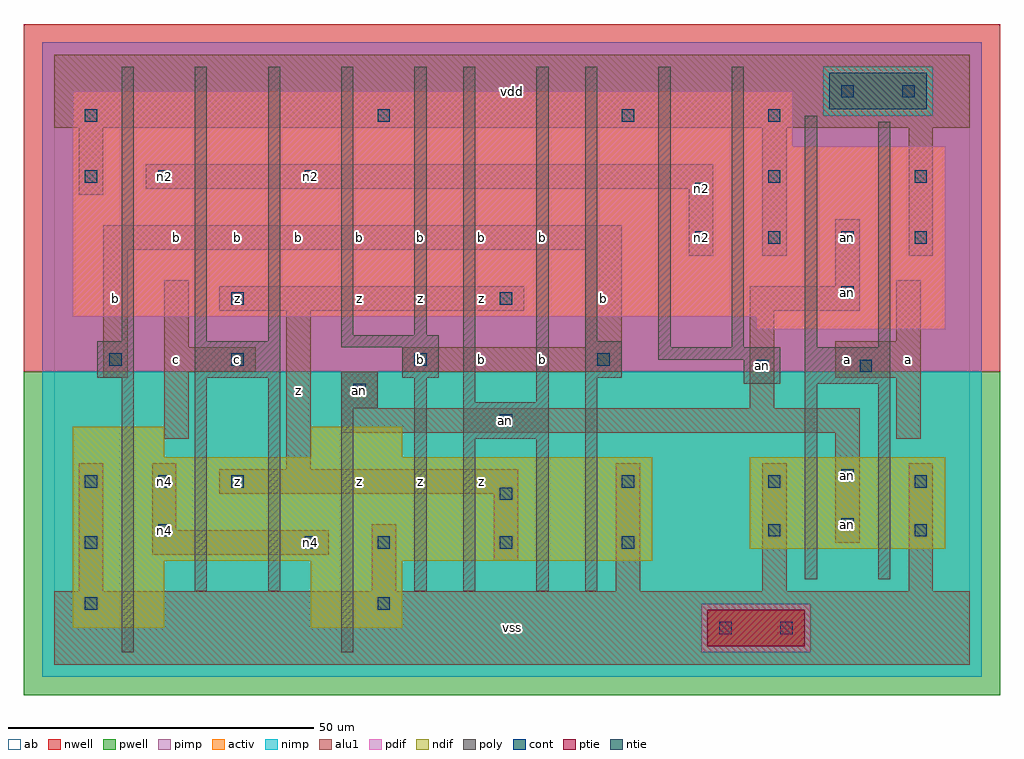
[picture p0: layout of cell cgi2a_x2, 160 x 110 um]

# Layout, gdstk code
import gdstk
lib = gdstk.Library(unit=1e-6, precision=1e-09)
def R(c, l, rs):  # rectangles x0, y0, x1, y1
    for r in rs: c.add(gdstk.rectangle(r[:2], r[2:], *l))
def A(c, l, x, y, w, h, nx, ny, dx, dy):  # array of equal rectangles
    R(c, l, [(x+i*dx, y+j*dy, x+i*dx+w, y+j*dy+h) for i in range(nx) for j in range(ny)])
ndif = (3, 0)
pdif = (4, 0)
ntie = (5, 0)
ptie = (6, 0)
cont = (25, 0)
pwell = (41, 0)
nwell = (42, 0)
activ = (43, 0)
pimp = (44, 0)
nimp = (45, 0)
poly = (46, 0)
alu1 = (49, 0)
ab = (63, 0)

cgi2a_x2 = lib.new_cell('cgi2a_x2')
R(cgi2a_x2, ndif, [(3,6,18,17), (42,6,57,17), (3,17,98,34), (114,19,146,34), (3,34,18,39), (42,34,57,39)])
R(cgi2a_x2, pdif, [(115,55,146,57), (3,57,146,85), (3,85,121,94)])
R(cgi2a_x2, ntie, [(127,91,143,97)])
R(cgi2a_x2, ptie, [(107,3,123,9)])
A(cgi2a_x2, cont, 53, 19, 2, 2, 3, 1, 20, 0)
A(cgi2a_x2, cont, 5, 29, 2, 2, 3, 1, 12, 0)
A(cgi2a_x2, cont, 93, 29, 2, 2, 3, 1, 24, 0)
A(cgi2a_x2, cont, 29, 49, 2, 2, 3, 1, 30, 0)
A(cgi2a_x2, cont, 105, 69, 2, 2, 4, 1, 12, 0)
R(cgi2a_x2, cont, [(109,5,111,7), (119,5,121,7), (5,9,7,11), (53,9,55,11), (5,19,7,21), (41,19,43,21), (17,21,19,23), (117,21,119,23), (141,21,143,23), (129,22,131,24), (73,27,75,29), (129,30,131,32), (73,39,75,41), (49,44,51,46), (115,48,117,50), (132,48,134,50), (9,49,11,51), (29,59,31,61), (73,59,75,61), (129,60,131,62), (105,77,107,79), (5,79,7,81), (17,79,19,81), (41,79,43,81), (117,79,119,81), (141,79,143,81), (5,89,7,91), (53,89,55,91), (93,89,95,91), (117,89,119,91), (129,93,131,95), (139,93,141,95)])
R(cgi2a_x2, pwell, [(-5,-5,155,48)])
R(cgi2a_x2, nwell, [(-5,48,155,105)])
R(cgi2a_x2, activ, [(107,3,123,9), (3,6,18,17), (42,6,57,17), (3,17,98,34), (114,19,146,34), (3,34,18,39), (42,34,57,39), (115,55,146,57), (3,57,146,85), (3,85,121,94), (127,91,143,97)])
R(cgi2a_x2, pimp, [(106,2,124,10), (-2,48,152,90), (-2,90,126,98), (144,90,152,98), (-2,98,152,102)])
R(cgi2a_x2, nimp, [(-2,-2,152,2), (-2,2,106,10), (124,2,152,10), (-2,10,152,48), (126,90,144,98)])
A(cgi2a_x2, poly, 11, 53, 2, 45, 3, 1, 12, 0)
R(cgi2a_x2, poly, [(11,2,13,47), (47,2,49,42), (23,12,25,47), (35,12,37,47), (59,12,61,47), (67,12,69,37), (79,12,81,37), (87,12,89,47), (123,14,125,46), (135,14,137,46), (67,37,81,43), (47,42,53,48), (67,43,69,98), (79,43,81,98), (113,46,119,50), (123,46,137,52), (7,47,13,53), (23,47,37,53), (57,47,63,52), (87,47,93,53), (99,50,119,52), (47,52,63,54), (99,52,101,98), (111,52,113,98), (123,52,125,90), (135,52,137,89), (87,53,89,98), (47,54,49,98), (59,54,61,98)])
A(cgi2a_x2, alu1, 92, 12, 4, 21, 3, 1, 24, 0)
R(cgi2a_x2, alu1, [(0,0,150,12), (4,12,8,33), (52,12,56,23), (72,17,76,28), (16,18,45,22), (128,20,132,38), (16,22,20,33), (27,28,76,32), (38,32,42,58), (18,37,22,48), (138,37,142,47), (47,38,132,42), (47,42,53,48), (114,42,118,58), (8,47,12,68), (128,47,142,53), (18,48,33,52), (57,48,93,52), (18,52,22,63), (87,52,93,68), (138,53,142,63), (27,58,77,62), (114,58,132,62), (128,62,132,73), (104,67,108,78), (116,67,120,88), (140,67,144,88), (8,68,93,72), (4,77,8,88), (15,78,108,82), (0,88,150,100)])
R(cgi2a_x2, ab, [(0,0,150,100)])
cgi2a_x2.add(gdstk.Label('n4', (18,22), layer=49, texttype=0))
cgi2a_x2.add(gdstk.Label('n4', (18,30), layer=49, texttype=0))
cgi2a_x2.add(gdstk.Label('n2', (18,80), layer=49, texttype=0))
cgi2a_x2.add(gdstk.Label('n4', (42,20), layer=49, texttype=0))
cgi2a_x2.add(gdstk.Label('an', (50,45), layer=49, texttype=0))
cgi2a_x2.add(gdstk.Label('n2', (42,80), layer=49, texttype=0))
cgi2a_x2.add(gdstk.Label('an', (74,40), layer=49, texttype=0))
cgi2a_x2.add(gdstk.Label('n2', (106,70), layer=49, texttype=0))
cgi2a_x2.add(gdstk.Label('n2', (106,78), layer=49, texttype=0))
cgi2a_x2.add(gdstk.Label('an', (130,23), layer=49, texttype=0))
cgi2a_x2.add(gdstk.Label('an', (130,31), layer=49, texttype=0))
cgi2a_x2.add(gdstk.Label('an', (116,49), layer=49, texttype=0))
cgi2a_x2.add(gdstk.Label('an', (130,61), layer=49, texttype=0))
cgi2a_x2.add(gdstk.Label('an', (130,70), layer=49, texttype=0))
cgi2a_x2.add(gdstk.Label('c', (20,50), layer=49, texttype=0))
cgi2a_x2.add(gdstk.Label('b', (10,60), layer=49, texttype=0))
cgi2a_x2.add(gdstk.Label('b', (20,70), layer=49, texttype=0))
cgi2a_x2.add(gdstk.Label('z', (30,30), layer=49, texttype=0))
cgi2a_x2.add(gdstk.Label('z', (50,30), layer=49, texttype=0))
cgi2a_x2.add(gdstk.Label('c', (30,50), layer=49, texttype=0))
cgi2a_x2.add(gdstk.Label('z', (40,45), layer=49, texttype=0))
cgi2a_x2.add(gdstk.Label('z', (50,60), layer=49, texttype=0))
cgi2a_x2.add(gdstk.Label('z', (30,60), layer=49, texttype=0))
cgi2a_x2.add(gdstk.Label('b', (30,70), layer=49, texttype=0))
cgi2a_x2.add(gdstk.Label('b', (40,70), layer=49, texttype=0))
cgi2a_x2.add(gdstk.Label('b', (50,70), layer=49, texttype=0))
cgi2a_x2.add(gdstk.Label('vss', (75,6), layer=49, texttype=0))
cgi2a_x2.add(gdstk.Label('z', (60,30), layer=49, texttype=0))
cgi2a_x2.add(gdstk.Label('z', (70,30), layer=49, texttype=0))
cgi2a_x2.add(gdstk.Label('b', (60,50), layer=49, texttype=0))
cgi2a_x2.add(gdstk.Label('b', (80,50), layer=49, texttype=0))
cgi2a_x2.add(gdstk.Label('b', (70,50), layer=49, texttype=0))
cgi2a_x2.add(gdstk.Label('z', (70,60), layer=49, texttype=0))
cgi2a_x2.add(gdstk.Label('z', (60,60), layer=49, texttype=0))
cgi2a_x2.add(gdstk.Label('b', (60,70), layer=49, texttype=0))
cgi2a_x2.add(gdstk.Label('b', (70,70), layer=49, texttype=0))
cgi2a_x2.add(gdstk.Label('b', (80,70), layer=49, texttype=0))
cgi2a_x2.add(gdstk.Label('vdd', (75,94), layer=49, texttype=0))
cgi2a_x2.add(gdstk.Label('b', (90,60), layer=49, texttype=0))
cgi2a_x2.add(gdstk.Label('a', (140,50), layer=49, texttype=0))
cgi2a_x2.add(gdstk.Label('a', (130,50), layer=49, texttype=0))

lib.write_gds('cgi2a_x2.gds')
